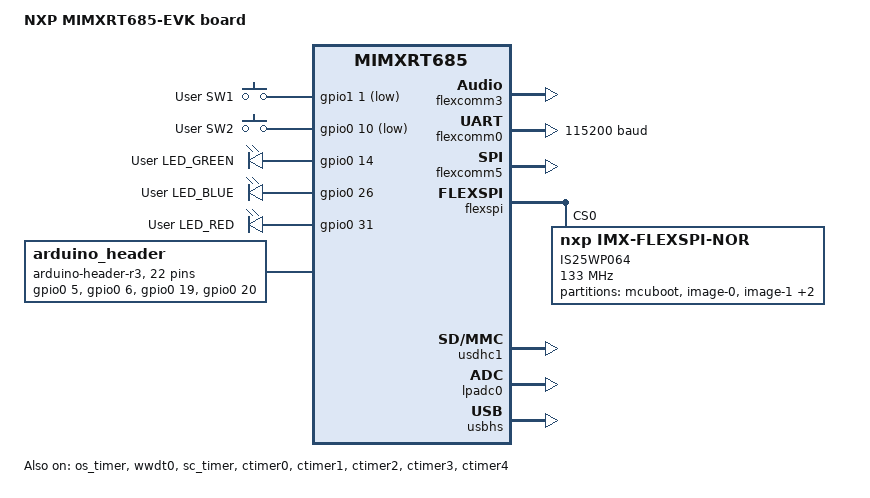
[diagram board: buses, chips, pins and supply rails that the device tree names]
/*
 * Copyright (c) 2020, NXP
 *
 * SPDX-License-Identifier: Apache-2.0
 */

/dts-v1/;

#include <nxp/nxp_rt6xx.dtsi>
#include <zephyr/dt-bindings/pwm/pwm.h>
#include <zephyr/dt-bindings/input/input-event-codes.h>
#include "rt_super.dtsi"

/ {
	model = "NXP MIMXRT685-EVK board";
	compatible = "nxp,mimxrt685";

	aliases {
		sw0 = &user_button_1;
		sw1 = &user_button_2;
		led0 = &green_led;
		led1 = &blue_led;
		led2 = &red_led;
		usart-0 = &flexcomm0;

		watchdog0 = &wwdt0;
	};

	chosen {
		zephyr,flash-controller = &flexspi;
		zephyr,flash = &is25wp064;
		zephyr,code-partition = &slot0_partition;
		zephyr,sram = &sram0;
		zephyr,console = &flexcomm0;
		zephyr,shell-uart = &flexcomm0;
	};

	gpio_keys {
		compatible = "gpio-keys";
		user_button_1: button_0 {
			label = "User SW1";
			gpios = <&gpio1 1 GPIO_ACTIVE_LOW>;
		};
		user_button_2: button_1 {
			label = "User SW2";
			gpios = <&gpio0 10 GPIO_ACTIVE_LOW>;
		};
	};

	leds {
		compatible = "gpio-leds";
		green_led: led_1 {
			gpios = <&gpio0 14 0>;
			label = "User LED_GREEN";
		};
		blue_led: led_2 {
			gpios = <&gpio0 26 0>;
			label = "User LED_BLUE";
		};
		red_led: led_3 {
			gpios = <&gpio0 31 0>;
			label = "User LED_RED";
		};
	};




	arduino_header: arduino-connector {
		compatible = "arduino-header-r3";
		#gpio-cells = <2>;
		gpio-map-mask = <0xffffffff 0xffffffc0>;
		gpio-map-pass-thru = <0 0x3f>;
		gpio-map =	<0 0 &gpio0 5 0>,	/* A0 */
				<1 0 &gpio0 6 0>,	/* A1 */
				<2 0 &gpio0 19 0>,	/* A2 */
				<3 0 &gpio0 20 0>,	/* A3 */
				<4 0 &gpio0 17 0>,	/* A4 */
				<5 0 &gpio0 18 0>,	/* A5 */
				<6 0 &gpio0 15 0>,	/* D0 */
				<7 0 &gpio0 14 0>,	/* D1 */
				<8 0 &gpio0 28 0>,	/* D2 */
				<9 0 &gpio0 27 0>,	/* D3 */
				<10 0 &gpio1 0 0>,	/* D4 */
				<11 0 &gpio1 10 0>,	/* D5 */
				<12 0 &gpio1 2 0>,	/* D6 */
				<13 0 &gpio0 11 0>,	/* D7 */
				<14 0 &gpio1 9 0>,	/* D8 */
				<15 0 &gpio1 7 0>,	/* D9 */
				<16 0 &gpio1 6 0>,	/* D10 */
				<17 0 &gpio1 5 0>,	/* D11 */
				<18 0 &gpio1 4 0>,	/* D12 */
				<19 0 &gpio1 3 0>,	/* D13 */
				<20 0 &gpio0 17 0>,	/* D14 */
				<21 0 &gpio0 18 0>;	/* D15 */
	};
	power-states {
	};
};


	/* I2S transmit channel */
i2s1: &flexcomm3 {
		status = "okay";
		compatible = "nxp,lpc-i2s";
		#address-cells = <1>;
		#size-cells = <0>;
		dmas = <&dma0 7>;
		dma-names = "tx";
		pinctrl-0 = <&pinmux_flexcomm3_i2s>;
		pinctrl-names = "default";
	};

&cpu0 {
};

/*
 * RT600 EVK board uses OS timer as the kernel timer
 * In case we need to switch to SYSTICK timer, then
 * replace &os_timer with &systick
 */
&os_timer {
	status = "okay";
};

&rtc {
	status = "disabled";
};

&flexcomm0 {
	compatible = "nxp,lpc-usart";
	status = "okay";
	current-speed = <115200>;
	pinctrl-0 = <&pinmux_flexcomm0_usart>;
	pinctrl-names = "default";
};



arduino_spi: &flexcomm5 {
	compatible = "nxp,lpc-spi";
	status = "okay";
	#address-cells = <1>;
	#size-cells = <0>;
	dmas = <&dma0 10>, <&dma0 11>;
	dma-names = "rx", "tx";
	pinctrl-0 = <&pinmux_flexcomm5_spi>;
	pinctrl-names = "default";
};


&flexspi {
	status = "okay";
	ahb-prefetch;
	ahb-read-addr-opt;
	rx-clock-source = <1>;

	is25wp064: is25wp064@0 {
		compatible = "nxp,imx-flexspi-nor";
		size = <DT_SIZE_M(8)>;
		label = "IS25WP064";
		reg = <0>;
		spi-max-frequency = <133000000>;
		status = "okay";
		jedec-id = [9d 70 17];
		erase-block-size = <4096>;
		write-block-size = <1>;

		partitions {
			compatible = "fixed-partitions";
			#address-cells = <1>;
			#size-cells = <1>;

			boot_partition: partition@0 {
				label = "mcuboot";
				reg = <0x00000000 DT_SIZE_K(64)>;
			};
			slot0_partition: partition@10000 {
				label = "image-0";
				reg = <0x00010000 DT_SIZE_M(3)>;
			};
			slot1_partition: partition@310000 {
				label = "image-1";
				reg = <0x00310000 DT_SIZE_M(3)>;
			};
			scratch_partition: partition@610000 {
				label = "image-scratch";
				reg = <0x00610000 DT_SIZE_K(128)>;
			};
			storage_partition: partition@630000 {
				label = "storage";
				reg = <0x00630000 DT_SIZE_K(1856)>;
			};
		};
	};
};

&gpio0 {
	status = "okay";
};

&gpio1 {
	status = "okay";
};

&gpio2 {
	status = "okay";
};

&dma0 {
	/*
	 * The total number of dma channels available is defined by
	 * FSL_FEATURE_DMA_NUMBER_OF_CHANNELS in the SoC features file.
	 * Since memory from the heap pool is allocated based on the number
	 * of DMA channels, set this property to as many channels is needed
	 * for the platform. Adjust HEAP_MEM_POOL_SIZE in case you need more
	 * memory.
	 */
	dma-channels = <20>;
	status = "okay";
};

&wwdt0 {
	status = "okay";
};

&user_button_1 {
	status = "okay";
};

&user_button_2 {
	status = "okay";
};

&green_led {
	status = "okay";
};

&blue_led {
	status = "okay";
};

&red_led {
	status = "okay";
};

&sc_timer {
	status = "okay";
};

&usdhc1 {
	status = "okay";
	/* Quick fix for 1.8V SD cards on RT600- disable 1.8V negotiation */
	no-1-8-v;
	pwr-gpios = <&gpio2 10 GPIO_ACTIVE_HIGH>;
};

&lpadc0 {
	status = "okay";
};

zephyr_udc0: &usbhs {
	status = "okay";
};

&ctimer0 {
	status = "okay";
};

&ctimer1 {
	status = "okay";
};

&ctimer2 {
	status = "okay";
};

&ctimer3 {
	status = "okay";
};

&ctimer4 {
	status = "okay";
};
